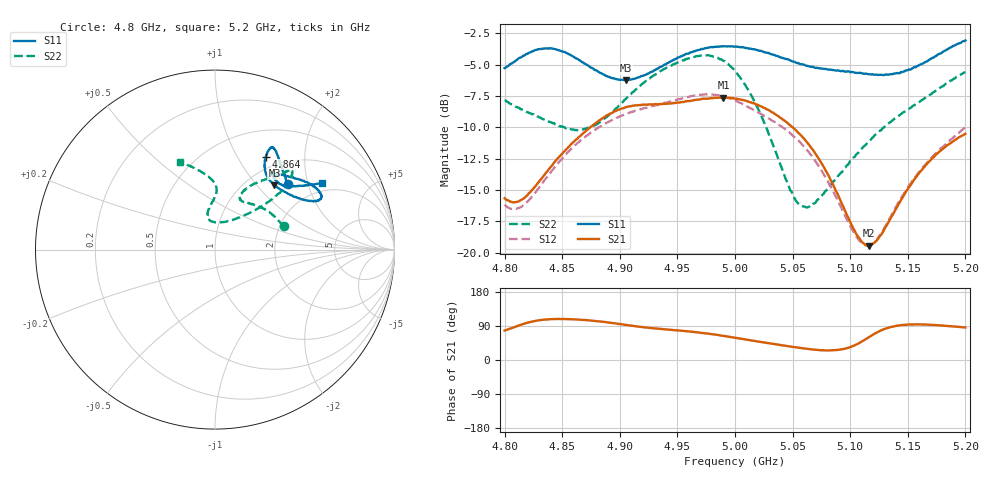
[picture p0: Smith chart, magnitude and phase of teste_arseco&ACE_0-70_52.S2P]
! Network Analyzer HP8722D
! Hewlett-Packard
! Data name: Linha & Wilkinson
! Saver's name: Rodrigo Anjos
! Comments: Teste da utilização de aquisição
! continua pelo VNA HP8722D
! Time and date: 8/5/2025 13:11
!  Frequency  S11  S21  S12  S22
# HZ  S  MA R 50
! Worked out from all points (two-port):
!   401 points, 4.8 GHz to 5.2 GHz, reference 50 ohm
!   highest |S21| = -7.62 dB at 4.99 GHz (marker M1); lowest = -19.4 dB at 5.116 GHz (marker M2)
!   |S21| within 3 dB of the highest: 4.866 GHz to 5.057 GHz (190.7 MHz wide, 3.84 % of centre); 5.198068 GHz to end of sweep
!   lowest |S11| = -6.2 dB at 4.905 GHz (marker M3), VSWR 2.91, Z = 66.1 + j62.2 ohm
!   |S11| at or under -10 dB: nowhere
!   |S22| runs from -16.4 to -4.2 dB; largest |S21 - S12| = 0.16
!   S11 on the Smith chart (normalised r, x): 4.8 GHz: 1.44, +1.50; 4.864 GHz: 0.83, +1.33; 5.2 GHz: 1.68, +2.47
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4.8e9  0.545 42.1  0.165 77.7  0.1553 42.8  0.4042 18.6
4.813e9  0.5996 52.1  0.1612 91.8  0.1514 56.9  0.3779 30.3
4.83e9  0.6488 58.9  0.1927 104.8  0.1821 70.8  0.3465 42.7
4.845e9  0.6468 61.4  0.2347 108.2  0.2238 75.2  0.3234 51.6
4.864e9  0.5903 61.3  0.2884 106.7  0.2756 75.7  0.3087 61.2
4.867e9  0.5763 60.9  0.2965 105.9  0.2831 75.7  0.3102 62.1
4.885e9  0.5171 57.0  0.3439 101.1  0.322 74.3  0.3372 64.9
4.905e9  0.4879 47.3  0.3804 92.7  0.3576 72.2  0.4096 60.6
4.934e9  0.5474 31.6  0.3913 82.3  0.3911 68.5  0.5246 50.7
4.963e9  0.6315 25.6  0.4052 74.4  0.4218 62.4  0.6016 47.1
4.99e9  0.6666 27.8  0.4161 63.5  0.4203 51.3  0.5823 43.3
5e9  0.664 29.9  0.4118 58.6  0.4056 47.4  0.5305 41.9
5.02e9  0.6429 34.8  0.3886 48.7  0.3632 41.3  0.3755 42.3
5.052e9  0.576 45.2  0.3106 33.8  0.2882 33.9  0.164 70.2
5.058e9  0.5653 47.0  0.2913 31.3  0.2708 32.6  0.1533 81.1
5.067e9  0.5525 49.8  0.2599 27.9  0.2422 31.0  0.155 94.6
5.084e9  0.5363 52.8  0.1914 25.3  0.1801 32.2  0.1889 103.1
5.105e9  0.5222 51.8  0.1193 40.3  0.1165 50.9  0.2461 96.2
5.116e9  0.5159 49.7  0.1069 59.8  0.1067 71.4  0.2777 91.8
5.134e9  0.5137 45.4  0.1347 86.1  0.1362 98.6  0.3301 88.2
5.166e9  0.5788 37.7  0.2247 93.4  0.2271 110.2  0.4184 96.4
5.2e9  0.7026 31.9  0.298 85.8  0.3167 110.9  0.5252 111.5
